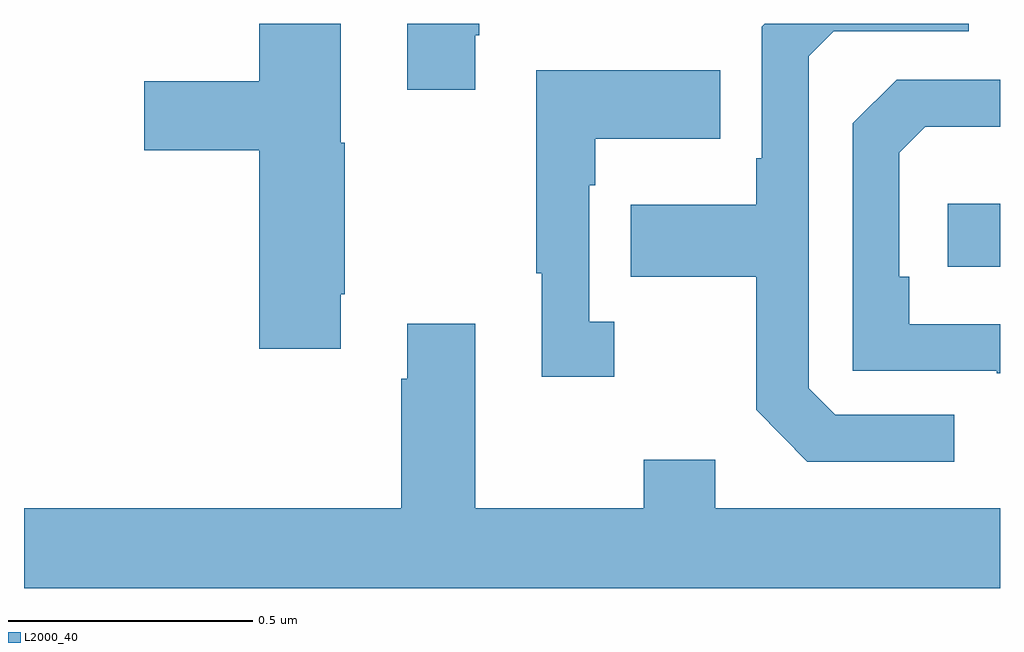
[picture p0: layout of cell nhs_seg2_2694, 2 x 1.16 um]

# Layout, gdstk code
import gdstk
lib = gdstk.Library(unit=1e-6, precision=1e-09)
def R(c, l, rs):  # rectangles x0, y0, x1, y1
    for r in rs: c.add(gdstk.rectangle(r[:2], r[2:], *l))
def P(c, l, *ps):  # polygons
    for p in ps: c.add(gdstk.Polygon(p, *l))
L2000_40 = (2000, 40)

nhs_seg2_2694 = lib.new_cell('nhs_seg2_2694')
R(nhs_seg2_2694, L2000_40, [(145.893,640.302,146,640.432)])
P(nhs_seg2_2694, L2000_40, [(144.925,640.777),(144.933,640.777),(144.933,640.8),(144.785,640.8),(144.785,640.665),(144.925,640.665)],
  [(144.649,640.246),(144.657,640.246),(144.657,640.557),(144.649,640.557),(144.649,640.8),(144.482,640.8),(144.482,640.683),(144.246,640.683),(144.246,640.541),(144.482,640.541),(144.482,640.134),(144.649,640.134)],
  [(145.906,639.999),(145.662,639.999),(145.608,640.053),(145.608,640.734),(145.659,640.785),(145.936,640.785),(145.936,640.8),(145.518,640.8),(145.512,640.794),(145.512,640.525),(145.5,640.525),(145.5,640.429),(145.243,640.429),(145.243,640.282),(145.5,640.282),(145.5,640.009),(145.605,639.903),(145.906,639.903)],
  [(145.21,640.19),(145.158,640.19),(145.158,640.469),(145.171,640.469),(145.171,640.565),(145.427,640.565),(145.427,640.705),(145.05,640.705),(145.05,640.289),(145.061,640.289),(145.061,640.077),(145.21,640.077)],
  [(146,640.185),(145.814,640.185),(145.814,640.282),(145.794,640.282),(145.794,640.536),(145.847,640.589),(146,640.589),(146,640.686),(145.788,640.686),(145.698,640.596),(145.698,640.089),(145.993,640.089),(145.993,640.084),(146,640.084)],
  [(146,639.808),(145.417,639.808),(145.417,639.907),(145.27,639.907),(145.27,639.808),(144.925,639.808),(144.925,640.186),(144.785,640.186),(144.785,640.073),(144.773,640.073),(144.773,639.808),(144,639.808),(144,639.644),(146,639.644)])

lib.write_gds('nhs_seg2_2694.gds')
